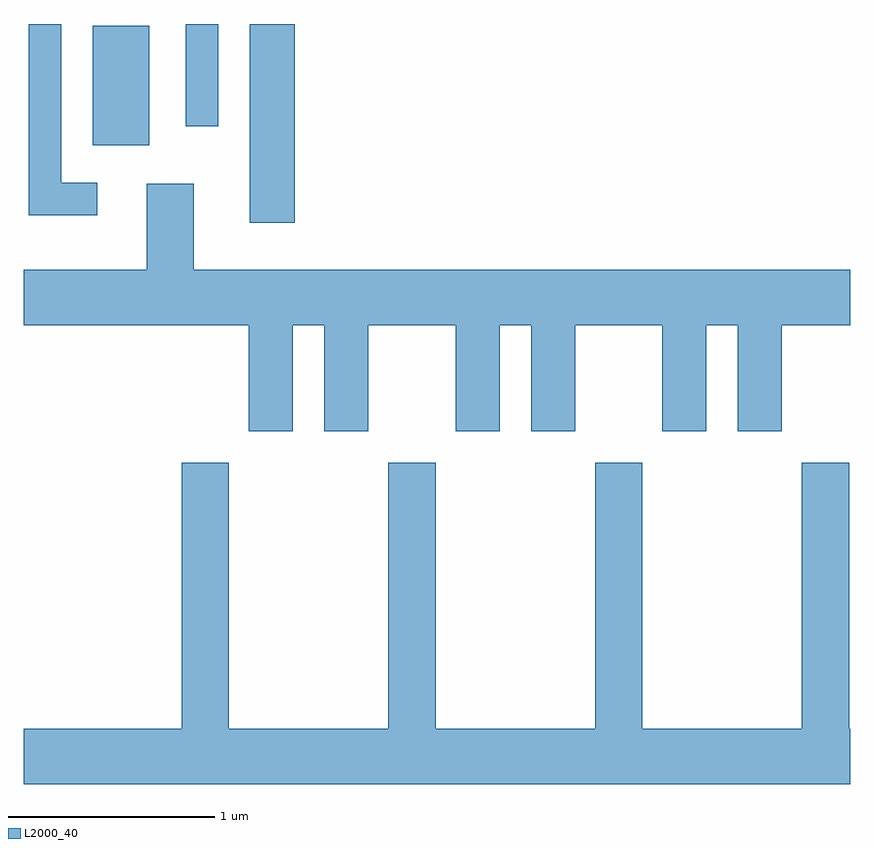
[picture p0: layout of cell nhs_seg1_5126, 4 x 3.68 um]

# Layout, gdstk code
import gdstk
lib = gdstk.Library(unit=1e-6, precision=1e-09)
def R(c, l, rs):  # rectangles x0, y0, x1, y1
    for r in rs: c.add(gdstk.rectangle(r[:2], r[2:], *l))
def P(c, l, *ps):  # polygons
    for p in ps: c.add(gdstk.Polygon(p, *l))
L2000_40 = (2000, 40)

nhs_seg1_5126 = lib.new_cell('nhs_seg1_5126')
R(nhs_seg1_5126, L2000_40, [(340.706,886.751,340.924,887.712), (339.946,887.126,340.219,887.704), (340.396,887.218,340.554,887.712)])
P(nhs_seg1_5126, L2000_40, [(339.968,886.944),(339.794,886.944),(339.794,887.712),(339.636,887.712),(339.636,886.786),(339.968,886.786)],
  [(340.914,886.256),(341.066,886.256),(341.066,885.741),(341.279,885.741),(341.279,886.256),(341.701,886.256),(341.701,885.741),(341.914,885.741),(341.914,886.256),(342.066,886.256),(342.066,885.741),(342.279,885.741),(342.279,886.256),(342.701,886.256),(342.701,885.741),(342.914,885.741),(342.914,886.256),(343.066,886.256),(343.066,885.741),(343.279,885.741),(343.279,886.256),(343.611,886.256),(343.611,886.524),(340.434,886.524),(340.434,886.939),(340.206,886.939),(340.206,886.524),(339.611,886.524),(339.611,886.256),(340.701,886.256),(340.701,885.741),(340.914,885.741)],
  [(343.611,884.304),(343.604,884.304),(343.604,885.589),(343.376,885.589),(343.376,884.304),(342.604,884.304),(342.604,885.589),(342.376,885.589),(342.376,884.304),(341.604,884.304),(341.604,885.589),(341.376,885.589),(341.376,884.304),(340.604,884.304),(340.604,885.589),(340.376,885.589),(340.376,884.304),(339.611,884.304),(339.611,884.036),(343.611,884.036)])

lib.write_gds('nhs_seg1_5126.gds')
